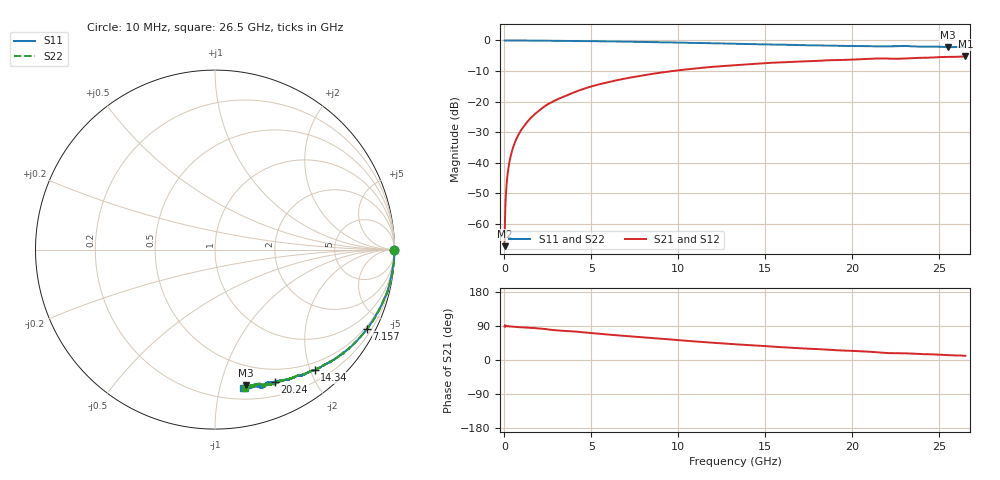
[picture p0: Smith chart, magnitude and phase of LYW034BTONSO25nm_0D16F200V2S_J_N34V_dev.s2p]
!Keysight Technologies,N5222B,MY61253708,A.15.00.15
!Date: Wednesday, June 19, 2024 08:57:16
!Correction: S11(C  2-Port  )
!S21(C  2-Port  )
!S12(C  2-Port  )
!S22(C  2-Port  )
!S2P File: Measurements: S11, S21, S12, S22:
# Hz S  RI  R 50
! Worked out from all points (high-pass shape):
!   2651 points, 10 MHz to 26.5 GHz, reference 50 ohm
!   highest |S21| = -5.21 dB at 26.5 GHz (marker M1); lowest = -67.3 dB at 10 MHz (marker M2)
!   |S21| within 3 dB of the highest: 12.93 GHz to end of sweep
!   lowest |S11| = -2.2 dB at 25.5 GHz (marker M3), VSWR 7.84, Z = 16 - j60.1 ohm
!   |S11| at or under -10 dB: nowhere
!   |S22| runs from -2.1 to 0.0 dB; largest |S21 - S12| = 0.0076
!   S11 on the Smith chart (normalised r, x): 10 MHz: open; 7.157 GHz: 0.40, -4.04; 14.34 GHz: 0.37, -2.07; 20.24 GHz: 0.35, -1.49; 26.5 GHz: 0.29, -1.18
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1e7  0.9986 -0.0024  1.13e-05 0.000432  0.000336 0.000609  0.9987 -0.000866
7.997358e7  0.9998 -0.00586  3.07e-05 0.00285  3.76e-05 0.00287  0.9994 -0.00548
1.599434e8  0.9997 -0.012  6.26e-05 0.00578  5.28e-05 0.00577  0.9995 -0.0113
2.099245e8  0.9996 -0.0151  0.000134 0.00755  0.000112 0.00755  0.9994 -0.0144
2.699019e8  0.9995 -0.0195  0.00014 0.00971  0.000154 0.00972  0.9997 -0.0187
3.798604e8  0.9993 -0.0276  0.000397 0.0136  0.000419 0.0137  0.9992 -0.0268
5.098113e8  0.9989 -0.0362  0.000666 0.0182  0.000675 0.0184  0.9992 -0.0354
8.696755e8  0.9975 -0.0613  0.00188 0.0309  0.0019 0.0311  0.9969 -0.0606
1.479445e9  0.9891 -0.1049  0.00469 0.0527  0.00471 0.053  0.9922 -0.1012
2.349117e9  0.979 -0.1609  0.0121 0.0843  0.0124 0.0849  0.9805 -0.161
3.198796e9  0.966 -0.2173  0.0244 0.1113  0.0247 0.1118  0.9658 -0.2167
4.428332e9  0.9349 -0.2933  0.0445 0.151  0.0448 0.1519  0.9366 -0.2906
7.157302e9  0.8469 -0.4415  0.1122 0.2172  0.1134 0.2182  0.8492 -0.4402
8.846664e9  0.7815 -0.5163  0.1617 0.2457  0.1631 0.2464  0.7832 -0.5148
1.3255e10  0.597 -0.6488  0.295 0.2622  0.2972 0.2621  0.6004 -0.6478
1.434459e10  0.5552 -0.6703  0.3233 0.2574  0.3254 0.257  0.558 -0.6674
1.767333e10  0.4212 -0.7183  0.4007 0.2258  0.404 0.2246  0.4323 -0.7163
2.024236e10  0.3344 -0.7378  0.45 0.194  0.4524 0.1926  0.3492 -0.7371
2.209166e10  0.2883 -0.7429  0.4796 0.1579  0.4809 0.1558  0.2827 -0.7496
2.308129e10  0.2593 -0.7705  0.4842 0.153  0.4848 0.1531  0.2598 -0.7516
2.550038e10  0.1723 -0.7544  0.5249 0.1178  0.5262 0.1188  0.1927 -0.7594
2.65e10  0.1543 -0.7689  0.5382 0.1068  0.5371 0.104  0.1668 -0.7684
